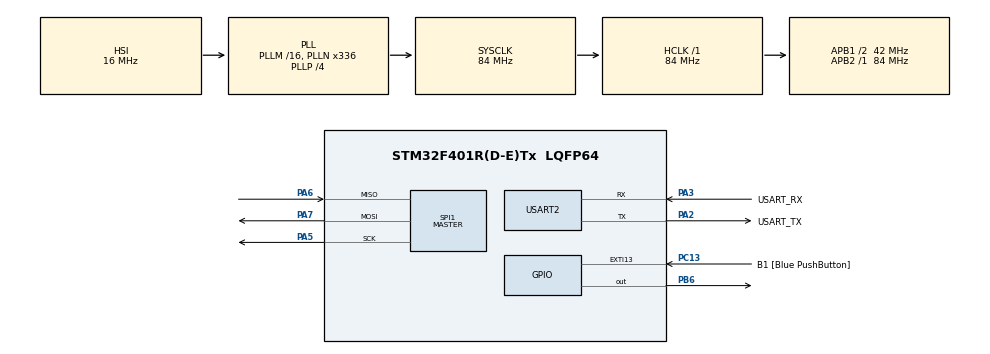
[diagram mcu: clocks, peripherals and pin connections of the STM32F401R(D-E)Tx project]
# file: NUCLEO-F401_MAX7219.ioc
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Mcu.Family=STM32F4
PC15-OSC32_OUT.Mode=LSE-External-Oscillator
PA2.GPIO_PuPd=GPIO_NOPULL
PA6.Mode=Full_Duplex_Master
RCC.CortexFreq_Value=84000000
PA7.Mode=Full_Duplex_Master
SPI1.VirtualType=VM_MASTER
PC13-ANTI_TAMP.GPIO_PuPd=GPIO_NOPULL
PC13-ANTI_TAMP.GPIO_Label=B1 [Blue PushButton]
PA14.GPIO_Label=TCK
PA3.GPIO_PuPd=GPIO_NOPULL
PH1\ -\ OSC_OUT.Mode=HSE-External-Clock-Source
PA2.GPIO_Speed=GPIO_SPEED_FREQ_LOW
RCC.APB1CLKDivider=RCC_HCLK_DIV2
PC14-OSC32_IN.Signal=RCC_OSC32_IN
PA3.GPIO_Speed=GPIO_SPEED_FREQ_LOW
RCC.SYSCLKSource=RCC_SYSCLKSOURCE_PLLCLK
ProjectManager.StackSize=0x400
PA13.Signal=SYS_JTMS-SWDIO
PA3.Mode=Asynchronous
PH0\ -\ OSC_IN.Mode=HSE-External-Clock-Source
PH0\ -\ OSC_IN.Signal=RCC_OSC_IN
ProjectManager.TargetToolchain=STM32CubeIDE
PA3.GPIO_Mode=GPIO_MODE_AF_PP
SPI1.Direction=SPI_DIRECTION_2LINES
RCC.HCLKFreq_Value=84000000
RCC.APB2TimFreq_Value=84000000
PB6.Signal=GPIO_Output
PC15-OSC32_OUT.Signal=RCC_OSC32_OUT
RCC.AHBFreq_Value=84000000
PA5.Signal=SPI1_SCK
RCC.HSE_VALUE=8000000
PH1\ -\ OSC_OUT.Signal=RCC_OSC_OUT
board=NUCLEO-F401RE
PC13-ANTI_TAMP.Signal=GPXTI13
RCC.VCOOutputFreq_Value=336000000
RCC.APB2Freq_Value=84000000
PC14-OSC32_IN.Mode=LSE-External-Oscillator
SPI1.Mode=SPI_MODE_MASTER
PA14.Mode=Serial_Wire
SPI1.DataSize=SPI_DATASIZE_8BIT
PA13.Mode=Serial_Wire
Mcu.Name=STM32F401R(D-E)Tx
PA2.Signal=USART2_TX
PA13.GPIO_Label=TMS
RCC.48MHZClocksFreq_Value=48000000
PB3.Signal=SYS_JTDO-SWO
RCC.SYSCLKFreq_VALUE=84000000
Mcu.Package=LQFP64
PA6.Signal=SPI1_MISO
USART2.VirtualMode=VM_ASYNC
PC13-ANTI_TAMP.GPIO_ModeDefaultEXTI=GPIO_MODE_IT_FALLING
PA2.GPIO_Label=USART_TX
PA14.Signal=SYS_JTCK-SWCLK
ProjectManager.HeapSize=0x200
RCC.HSI_VALUE=16000000
RCC.PLLP=RCC_PLLP_DIV4
RCC.PLLQ=7
NVIC.PriorityGroup=NVIC_PRIORITYGROUP_0
RCC.PLLN=336
RCC.APB1TimFreq_Value=84000000
PA2.Mode=Asynchronous
RCC.APB1Freq_Value=42000000
SPI1.BaudRatePrescaler=SPI_BAUDRATEPRESCALER_64
PA3.GPIO_Label=USART_RX
PA3.Signal=USART2_RX
PA5.Mode=Full_Duplex_Master
PA7.Signal=SPI1_MOSI
PA2.GPIO_Mode=GPIO_MODE_AF_PP
PB3.GPIO_Label=SWO

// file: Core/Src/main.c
/* USER CODE BEGIN Header */
/**
  ******************************************************************************
  * @file           : main.c
  * @brief          : Main program body
  ******************************************************************************
  * @attention
  *
  * <h2><center>&copy; Copyright (c) 2021 STMicroelectronics.
  * All rights reserved.</center></h2>
  *
  * This software component is licensed by ST under BSD 3-Clause license,
  * the "License"; You may not use this file except in compliance with the
  * License. You may obtain a copy of the License at:
  *                        opensource.org/licenses/BSD-3-Clause
  *
  ******************************************************************************
  */
/* USER CODE END Header */
#include "main.h"

UART_HandleTypeDef huart2;

/* USER CODE BEGIN PV */
uint16_t data;
/* USER CODE END PV */

void SystemClock_Config(void);
static void MX_GPIO_Init(void);
static void MX_USART2_UART_Init(void);
static void MX_SPI1_Init(void);

int main(void)
{

  /* MCU Configuration--------------------------------------------------------*/

  /* Reset of all peripherals, Initializes the Flash interface and the Systick. */
  HAL_Init();

  /* Configure the system clock */
  SystemClock_Config();

  /* Initialize all configured peripherals */
  MX_GPIO_Init();
  MX_USART2_UART_Init();
  MX_SPI1_Init();
  /* USER CODE BEGIN 2 */

  HAL_GPIO_WritePin(GPIOB, GPIO_PIN_6, GPIO_PIN_RESET);
   LL_SPI_TransmitData8(SPI1, 0x0C);
   LL_SPI_TransmitData8(SPI1, 0x01);
   HAL_GPIO_WritePin(GPIOB, GPIO_PIN_6, GPIO_PIN_SET);

   HAL_GPIO_WritePin(GPIOB, GPIO_PIN_6, GPIO_PIN_RESET);
    LL_SPI_TransmitData8(SPI1, 0x09);
    LL_SPI_TransmitData8(SPI1, 0xFF);
    HAL_GPIO_WritePin(GPIOB, GPIO_PIN_6, GPIO_PIN_SET);

    for (uint8_t i = 1; i < 9; i++) {//set all digits OFF
      HAL_GPIO_WritePin(GPIOB, GPIO_PIN_6,GPIO_PIN_RESET);
      LL_SPI_TransmitData8(SPI1, i);
      LL_SPI_TransmitData8(SPI1, 0x0F);
      HAL_GPIO_WritePin(GPIOB, GPIO_PIN_6, GPIO_PIN_SET);
    }

    HAL_GPIO_WritePin(GPIOB, GPIO_PIN_6, GPIO_PIN_RESET);
     LL_SPI_TransmitData8(SPI1, 0x0B);
     LL_SPI_TransmitData8(SPI1, 0x07);
     HAL_GPIO_WritePin(GPIOB, GPIO_PIN_6, GPIO_PIN_SET);

  /* USER CODE END 2 */

  /* Infinite loop */
  while (1)
  {

  }
}

void SystemClock_Config(void)
{
  RCC_OscInitTypeDef RCC_OscInitStruct = {0};
  RCC_ClkInitTypeDef RCC_ClkInitStruct = {0};

  /** Configure the main internal regulator output voltage
  */
  __HAL_RCC_PWR_CLK_ENABLE();
  __HAL_PWR_VOLTAGESCALING_CONFIG(PWR_REGULATOR_VOLTAGE_SCALE2);
  /** Initializes the RCC Oscillators according to the specified parameters
  * in the RCC_OscInitTypeDef structure.
  */
  RCC_OscInitStruct.OscillatorType = RCC_OSCILLATORTYPE_HSI;
  RCC_OscInitStruct.HSIState = RCC_HSI_ON;
  RCC_OscInitStruct.HSICalibrationValue = RCC_HSICALIBRATION_DEFAULT;
  RCC_OscInitStruct.PLL.PLLState = RCC_PLL_ON;
  RCC_OscInitStruct.PLL.PLLSource = RCC_PLLSOURCE_HSI;
  RCC_OscInitStruct.PLL.PLLM = 16;
  RCC_OscInitStruct.PLL.PLLN = 336;
  RCC_OscInitStruct.PLL.PLLP = RCC_PLLP_DIV4;
  RCC_OscInitStruct.PLL.PLLQ = 7;
  if (HAL_RCC_OscConfig(&RCC_OscInitStruct) != HAL_OK)
  {
    Error_Handler();
  }
  /** Initializes the CPU, AHB and APB buses clocks
  */
  RCC_ClkInitStruct.ClockType = RCC_CLOCKTYPE_HCLK|RCC_CLOCKTYPE_SYSCLK
                              |RCC_CLOCKTYPE_PCLK1|RCC_CLOCKTYPE_PCLK2;
  RCC_ClkInitStruct.SYSCLKSource = RCC_SYSCLKSOURCE_PLLCLK;
  RCC_ClkInitStruct.AHBCLKDivider = RCC_SYSCLK_DIV1;
  RCC_ClkInitStruct.APB1CLKDivider = RCC_HCLK_DIV2;
  RCC_ClkInitStruct.APB2CLKDivider = RCC_HCLK_DIV1;

  if (HAL_RCC_ClockConfig(&RCC_ClkInitStruct, FLASH_LATENCY_2) != HAL_OK)
  {
    Error_Handler();
  }
}

static void MX_SPI1_Init(void)
{

  LL_SPI_InitTypeDef SPI_InitStruct = {0};

  LL_GPIO_InitTypeDef GPIO_InitStruct = {0};

  /* Peripheral clock enable */
  LL_APB2_GRP1_EnableClock(LL_APB2_GRP1_PERIPH_SPI1);

  LL_AHB1_GRP1_EnableClock(LL_AHB1_GRP1_PERIPH_GPIOA);
  /**SPI1 GPIO Configuration
  PA5   ------> SPI1_SCK
  PA6   ------> SPI1_MISO
  PA7   ------> SPI1_MOSI
  */
  GPIO_InitStruct.Pin = LL_GPIO_PIN_5|LL_GPIO_PIN_6|LL_GPIO_PIN_7;
  GPIO_InitStruct.Mode = LL_GPIO_MODE_ALTERNATE;
  GPIO_InitStruct.Speed = LL_GPIO_SPEED_FREQ_VERY_HIGH;
  GPIO_InitStruct.OutputType = LL_GPIO_OUTPUT_PUSHPULL;
  GPIO_InitStruct.Pull = LL_GPIO_PULL_NO;
  GPIO_InitStruct.Alternate = LL_GPIO_AF_5;
  LL_GPIO_Init(GPIOA, &GPIO_InitStruct);

  /* SPI1 parameter configuration*/
  SPI_InitStruct.TransferDirection = LL_SPI_FULL_DUPLEX;
  SPI_InitStruct.Mode = LL_SPI_MODE_MASTER;
  SPI_InitStruct.DataWidth = LL_SPI_DATAWIDTH_8BIT;
  SPI_InitStruct.ClockPolarity = LL_SPI_POLARITY_LOW;
  SPI_InitStruct.ClockPhase = LL_SPI_PHASE_1EDGE;
  SPI_InitStruct.NSS = LL_SPI_NSS_SOFT;
  SPI_InitStruct.BaudRate = LL_SPI_BAUDRATEPRESCALER_DIV64;
  SPI_InitStruct.BitOrder = LL_SPI_MSB_FIRST;
  SPI_InitStruct.CRCCalculation = LL_SPI_CRCCALCULATION_DISABLE;
  SPI_InitStruct.CRCPoly = 10;
  LL_SPI_Init(SPI1, &SPI_InitStruct);
  LL_SPI_SetStandard(SPI1, LL_SPI_PROTOCOL_MOTOROLA);

}

static void MX_USART2_UART_Init(void)
{

  huart2.Instance = USART2;
  huart2.Init.BaudRate = 115200;
  huart2.Init.WordLength = UART_WORDLENGTH_8B;
  huart2.Init.StopBits = UART_STOPBITS_1;
  huart2.Init.Parity = UART_PARITY_NONE;
  huart2.Init.Mode = UART_MODE_TX_RX;
  huart2.Init.HwFlowCtl = UART_HWCONTROL_NONE;
  huart2.Init.OverSampling = UART_OVERSAMPLING_16;
  if (HAL_UART_Init(&huart2) != HAL_OK)
  {
    Error_Handler();
  }

}

static void MX_GPIO_Init(void)
{
  GPIO_InitTypeDef GPIO_InitStruct = {0};

  /* GPIO Ports Clock Enable */
  __HAL_RCC_GPIOC_CLK_ENABLE();
  __HAL_RCC_GPIOH_CLK_ENABLE();
  __HAL_RCC_GPIOA_CLK_ENABLE();
  __HAL_RCC_GPIOB_CLK_ENABLE();

  /*Configure GPIO pin Output Level */
  HAL_GPIO_WritePin(GPIOB, GPIO_PIN_6, GPIO_PIN_RESET);

  /*Configure GPIO pin : B1_Pin */
  GPIO_InitStruct.Pin = B1_Pin;
  GPIO_InitStruct.Mode = GPIO_MODE_IT_FALLING;
  GPIO_InitStruct.Pull = GPIO_NOPULL;
  HAL_GPIO_Init(B1_GPIO_Port, &GPIO_InitStruct);

  /*Configure GPIO pin : PB6 */
  GPIO_InitStruct.Pin = GPIO_PIN_6;
  GPIO_InitStruct.Mode = GPIO_MODE_OUTPUT_PP;
  GPIO_InitStruct.Pull = GPIO_NOPULL;
  GPIO_InitStruct.Speed = GPIO_SPEED_FREQ_LOW;
  HAL_GPIO_Init(GPIOB, &GPIO_InitStruct);

}

void Error_Handler(void)
{
  __disable_irq();
  while (1)
  {
  }
}

/************************ (C) COPYRIGHT STMicroelectronics *****END OF FILE****/
